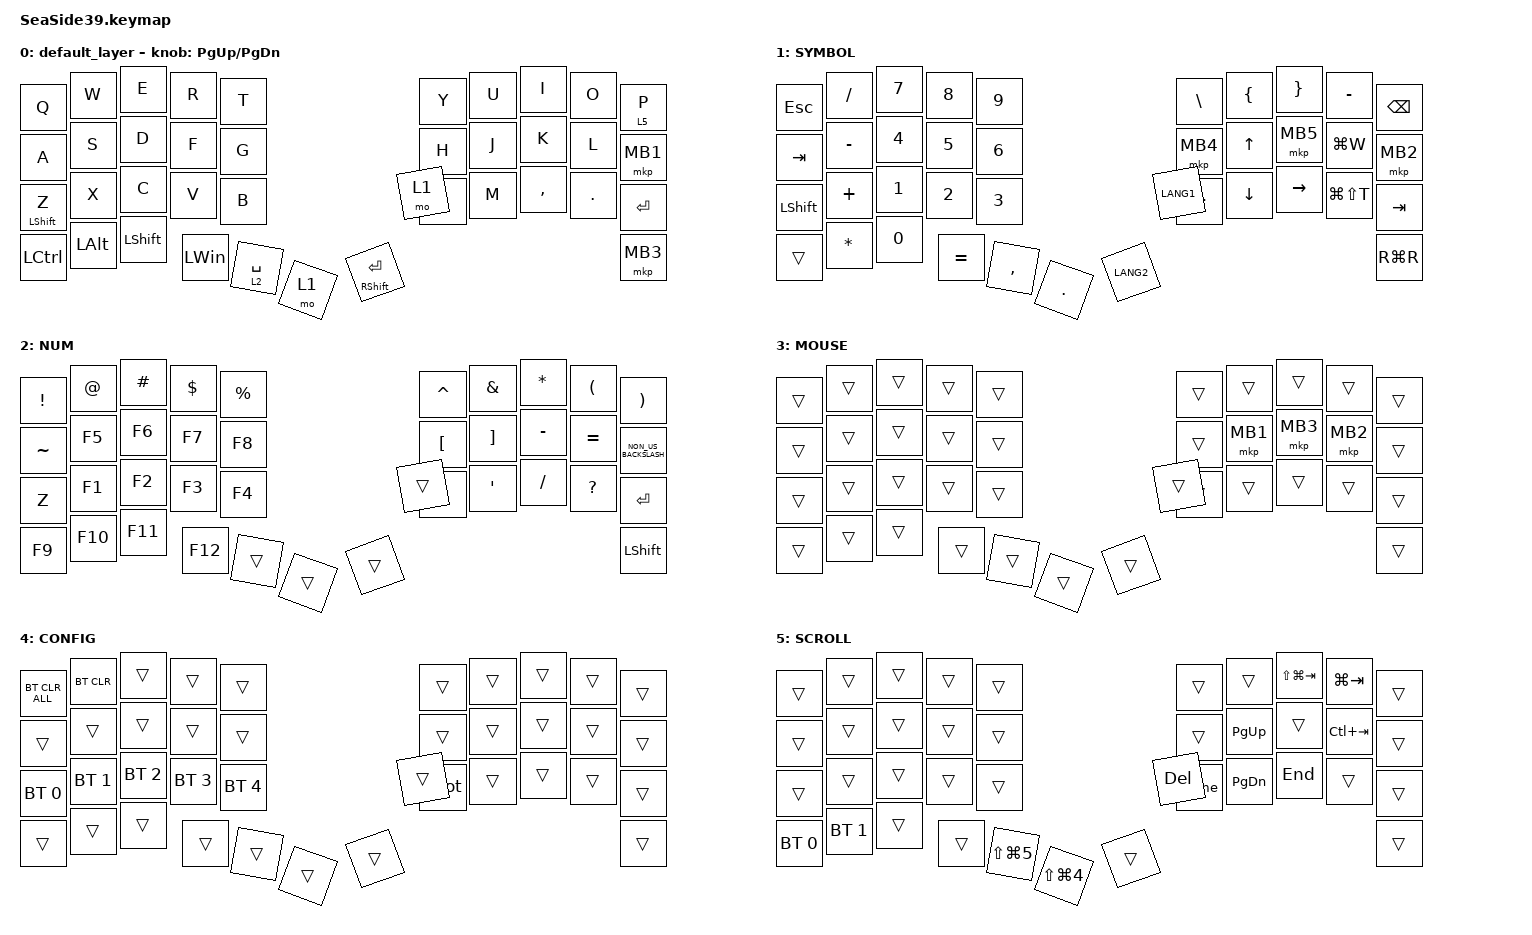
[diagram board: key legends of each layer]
#include <behaviors.dtsi>
#include <dt-bindings/zmk/bt.h>
#include <dt-bindings/zmk/keys.h>
#include <dt-bindings/zmk/pointing.h>

#define MOUSE 4
#define SCROLL 5
#define NUM 6

&mt {
    flavor = "balanced";
    quick-tap-ms = <300>;
};

&lt {
    flavor = "balanced";
    quick-tap-ms = <300>;
};

/ {
    combos { compatible = "zmk,combos"; };

    macros {
        to_layer_0: to_layer_0 {
            compatible = "zmk,behavior-macro-one-param";
            #binding-cells = <1>;
            bindings = <&to 0 &macro_param_1to1 &kp MACRO_PLACEHOLDER>;
            label = "TO_LAYER_0";
        };
    };

    behaviors {
        lt_to_layer_0: lt_to_layer_0 {
            compatible = "zmk,behavior-hold-tap";
            label = "LAYER_TAP_TO_0";
            bindings = <&mo>, <&to_layer_0>;

            #binding-cells = <2>;
            tapping-term-ms = <200>;
        };
    };

    keymap {
        compatible = "zmk,keymap";

        default_layer {
            bindings = <
&kp Q             &kp W         &kp E           &kp R         &kp T                                     &kp Y  &kp U  &kp I      &kp O       &lt 5 P
&kp A             &kp S         &kp D           &kp F         &kp G                                     &kp H  &kp J  &kp K      &kp L       &mkp MB1
&mt LEFT_SHIFT Z  &kp X         &kp C           &kp V         &kp B                                     &kp N  &kp M  &kp COMMA  &kp PERIOD  &kp ENTER
&kp LEFT_CONTROL  &kp LEFT_ALT  &kp LEFT_SHIFT  &kp LEFT_WIN  &lt 2 SPACE  &mo 1      &mt RSHIFT ENTER  &mo 1                                &mkp MB3
            >;

            sensor-bindings = <&inc_dec_kp PG_UP PAGE_DOWN>;
        };

        SYMBOL {
            bindings = <
&kp ESCAPE      &kp SLASH  &kp N7        &kp N8        &kp N9                                   &kp BSLH        &kp LEFT_BRACE  &kp RIGHT_BRACE  &kp MINUS      &kp BACKSPACE
&kp TAB         &kp MINUS  &kp NUMBER_4  &kp N5        &kp NUMBER_6                             &mkp MB4        &kp UP_ARROW    &mkp MB5         &kp LG(W)      &mkp MB2
&kp LEFT_SHIFT  &kp PLUS   &kp NUMBER_1  &kp NUMBER_2  &kp NUMBER_3                             &kp LEFT_ARROW  &kp DOWN_ARROW  &kp RIGHT_ARROW  &kp LG(LS(T))  &kp TAB
&trans          &kp STAR   &kp N0        &kp EQUAL     &kp COMMA     &kp PERIOD      &kp LANG2  &kp LANG1                                                       &kp RG(R)
            >;
        };

        NUM {
            bindings = <
&kp EXCLAMATION  &kp AT_SIGN  &kp HASH  &kp DOLLAR  &kp PERCENT                      &kp CARET         &kp AMPERSAND      &kp ASTERISK  &kp LEFT_PARENTHESIS  &kp RIGHT_PARENTHESIS
&kp TILDE        &kp F5       &kp F6    &kp F7      &kp F8                           &kp LEFT_BRACKET  &kp RIGHT_BRACKET  &kp MINUS     &kp EQUAL             &kp NON_US_BACKSLASH
&kp Z            &kp F1       &kp F2    &kp F3      &kp F4                           &kp SEMICOLON     &kp SQT            &kp SLASH     &kp QUESTION          &kp ENTER
&kp F9           &kp F10      &kp F11   &kp F12     &trans       &trans      &trans  &trans                                                                   &kp LEFT_SHIFT
            >;
        };

        MOUSE {
            bindings = <
&trans  &trans  &trans  &trans  &trans                      &trans  &trans    &trans    &trans    &trans
&trans  &trans  &trans  &trans  &trans                      &trans  &mkp MB1  &mkp MB3  &mkp MB2  &trans
&trans  &trans  &trans  &trans  &trans                      &trans  &trans    &trans    &trans    &trans
&trans  &trans  &trans  &trans  &trans  &trans      &trans  &trans                                &trans
            >;
        };

        CONFIG {
            bindings = <
&bt BT_CLR_ALL  &bt BT_CLR    &trans        &trans        &trans                            &trans       &trans  &trans  &trans  &trans
&trans          &trans        &trans        &trans        &trans                            &trans       &trans  &trans  &trans  &trans
&bt BT_SEL 0    &bt BT_SEL 1  &bt BT_SEL 2  &bt BT_SEL 3  &bt BT_SEL 4                      &bootloader  &trans  &trans  &trans  &trans
&trans          &trans        &trans        &trans        &trans        &trans      &trans  &trans                               &trans
            >;
        };

        SCROLL {
            bindings = <
&trans        &trans        &trans  &trans  &trans                                      &trans      &trans         &kp LS(LG(TAB))  &kp LG(TAB)  &trans
&trans        &trans        &trans  &trans  &trans                                      &trans      &kp PAGE_UP    &trans           &kp LC(TAB)  &trans
&trans        &trans        &trans  &trans  &trans                                      &kp HOME    &kp PAGE_DOWN  &kp END          &trans       &trans
&bt BT_SEL 0  &bt BT_SEL 1  &trans  &trans  &kp LS(LG(N5))  &kp LS(LG(N4))      &trans  &kp DELETE                                               &trans
            >;
        };
    };

    conditional_layers {
        compatible = "zmk,conditional-layers";

        SCROLL {
            if-layers = <4>;
            then-layer = <4>;
        };
    };
};
